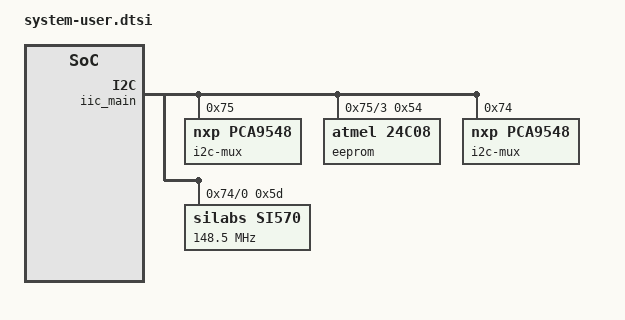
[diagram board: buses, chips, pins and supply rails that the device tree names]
/include/ "system-conf.dtsi"
/ {
};

&iic_main {
	#address-cells = <1>;
	#size-cells = <0>;
	i2c-mux@75 {
		compatible = "nxp,pca9548";
		#address-cells = <1>;
		#size-cells = <0>;
		reg = <0x75>;
		i2c@3 {
			#address-cells = <1>;
			#size-cells = <0>;
			reg = <3>;
			eeprom@54 {
				compatible = "atmel,24c08";
				reg = <0x54>;
			};
		};
	};
	i2c-mux@74 {
		compatible = "nxp,pca9548";
		#address-cells = <1>;
		#size-cells = <0>;
		reg = <0x74>;
		i2c@0 {
			#address-cells = <1>;
			#size-cells = <0>;
			reg = <0>;
			si570: clock-generator@5d {
				#clock-cells = <0>;
				compatible = "silabs,si570";
				temperature-stability = <50>;
				reg = <0x5d>;
				factory-fout = <156250000>;
				clock-frequency = <148500000>;
			};
		};
	};
};

